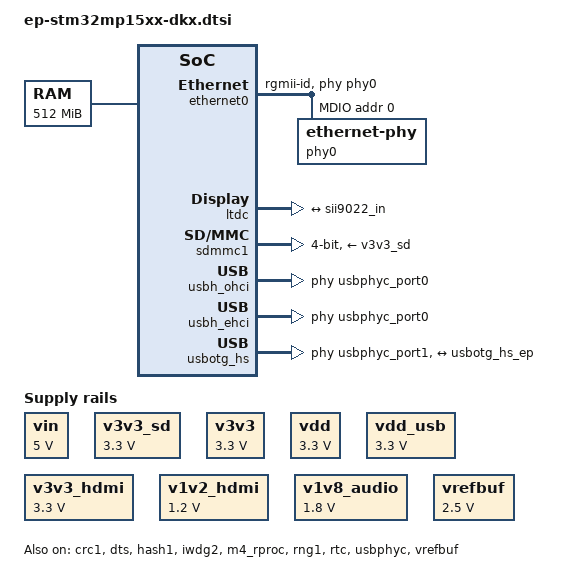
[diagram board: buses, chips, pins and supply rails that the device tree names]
// SPDX-License-Identifier: (GPL-2.0+ OR BSD-3-Clause)
/*
 * Copyright (C) STMicroelectronics 2019 - All Rights Reserved
 * Author: Alexandre Torgue <alexandre.torgue@st.com> for STMicroelectronics.
 */

#include <dt-bindings/gpio/gpio.h>
#include <dt-bindings/mfd/st,stpmic1.h>

/ {
	memory@c0000000 {
		device_type = "memory";
		reg = <0xc0000000 0x20000000>;
	};

	reserved-memory {
		#address-cells = <1>;
		#size-cells = <1>;
		ranges;

		mcuram2: mcuram2@10000000 {
			compatible = "shared-dma-pool";
			reg = <0x10000000 0x40000>;
			no-map;
		};

		vdev0vring0: vdev0vring0@10040000 {
			compatible = "shared-dma-pool";
			reg = <0x10040000 0x1000>;
			no-map;
		};

		vdev0vring1: vdev0vring1@10041000 {
			compatible = "shared-dma-pool";
			reg = <0x10041000 0x1000>;
			no-map;
		};

		vdev0buffer: vdev0buffer@10042000 {
			compatible = "shared-dma-pool";
			reg = <0x10042000 0x4000>;
			no-map;
		};

		mcuram: mcuram@30000000 {
			compatible = "shared-dma-pool";
			reg = <0x30000000 0x40000>;
			no-map;
		};

		retram: retram@38000000 {
			compatible = "shared-dma-pool";
			reg = <0x38000000 0x10000>;
			no-map;
		};

		gpu_reserved: gpu@d4000000 {
			reg = <0xd4000000 0x4000000>;
			no-map;
		};
	};	

	vin: vin {
		compatible = "regulator-fixed";
		regulator-name = "vin";
		regulator-min-microvolt = <5000000>;
		regulator-max-microvolt = <5000000>;
		regulator-always-on;
	};
	
	v3v3_sd: v3v3_sd {
		compatible = "regulator-fixed";
		regulator-name = "v3v3_sd";
		regulator-min-microvolt = <3300000>;
		regulator-max-microvolt = <3300000>;
		regulator-always-on;
	};
	
	v3v3: v3v3 {
		compatible = "regulator-fixed";
		regulator-name = "v3v3";
		regulator-min-microvolt = <3300000>;
		regulator-max-microvolt = <3300000>;
		regulator-always-on;
	};
	
	vdd: vdd {
		compatible = "regulator-fixed";
		regulator-name = "vdd";
		regulator-min-microvolt = <3300000>;
		regulator-max-microvolt = <3300000>;
		regulator-always-on;
	};
	
	vdd_usb: vdd_usb {
		compatible = "regulator-fixed";
		regulator-name = "vdd_usb";
		regulator-min-microvolt = <3300000>;
		regulator-max-microvolt = <3300000>;
		regulator-always-on;
	};
	
	v3v3_hdmi: v3v3_hdmi {
		compatible = "regulator-fixed";
		regulator-name = "v3v3_hdmi";
		regulator-min-microvolt = <3300000>;
		regulator-max-microvolt = <3300000>;
		regulator-always-on;
	};
	
	v1v2_hdmi: v1v2_hdmi {
		compatible = "regulator-fixed";
		regulator-name = "v1v2_hdmi";
		regulator-min-microvolt = <1200000>;
		regulator-max-microvolt = <1200000>;
		regulator-always-on;
	};
	
	v1v8_audio: v1v8_audio {
		compatible = "regulator-fixed";
		regulator-name = "v1v8_audio";
		regulator-min-microvolt = <1800000>;
		regulator-max-microvolt = <1800000>;
		regulator-always-on;
	};
};

&crc1 {
	status = "okay";
};

&dts {
	status = "okay";
};

&ethernet0 {
	status = "okay";
	pinctrl-0 = <&ethernet0_rgmii_pins_a>;
	pinctrl-1 = <&ethernet0_rgmii_sleep_pins_a>;
	pinctrl-names = "default", "sleep";
	phy-mode = "rgmii-id";
	max-speed = <1000>;
	phy-handle = <&phy0>;

	mdio0 {
		#address-cells = <1>;
		#size-cells = <0>;
		compatible = "snps,dwmac-mdio";
		phy0: ethernet-phy@0 {
			reg = <0>;
		};
	};
};

&gpu {
	contiguous-area = <&gpu_reserved>;
};

&hash1 {
	status = "okay";
};

&ipcc {
	status = "okay";
};

&iwdg2 {
	timeout-sec = <32>;
	status = "okay";
};

&ltdc {
	pinctrl-names = "default", "sleep";
	pinctrl-0 = <&ltdc_pins_a>;
	pinctrl-1 = <&ltdc_sleep_pins_a>;
	status = "okay";

	port {
		ltdc_ep0_out: endpoint@0 {
			reg = <0>;
			remote-endpoint = <&sii9022_in>;
		};
	};
};

&m4_rproc {
	memory-region = <&retram>, <&mcuram>, <&mcuram2>, <&vdev0vring0>,
			<&vdev0vring1>, <&vdev0buffer>;
	mboxes = <&ipcc 0>, <&ipcc 1>, <&ipcc 2>;
	mbox-names = "vq0", "vq1", "shutdown";
	interrupt-parent = <&exti>;
	interrupts = <68 1>;
	status = "okay";
};

&pwr_regulators {
	vdd-supply = <&vdd>;
	vdd_3v3_usbfs-supply = <&vdd_usb>;
};

&rng1 {
	status = "okay";
};

&rtc {
	status = "okay";
};

&sdmmc1 {
	pinctrl-names = "default", "opendrain", "sleep";
	pinctrl-0 = <&sdmmc1_b4_pins_a>;
	pinctrl-1 = <&sdmmc1_b4_od_pins_a>;
	pinctrl-2 = <&sdmmc1_b4_sleep_pins_a>;	
	broken-cd;
	disable-wp;
	st,neg-edge;
	bus-width = <4>;
	vmmc-supply = <&v3v3_sd>;
	status = "okay";
};

&sdmmc3 {
	pinctrl-names = "default", "opendrain", "sleep";
	pinctrl-0 = <&sdmmc3_b4_pins_a>;
	pinctrl-1 = <&sdmmc3_b4_od_pins_a>;
	pinctrl-2 = <&sdmmc3_b4_sleep_pins_a>;
	broken-cd;
	st,neg-edge;
	bus-width = <4>;
	vmmc-supply = <&v3v3>;
	status = "disabled";
};

&usbh_ohci {
	phys = <&usbphyc_port0>;
	status = "okay";
};

&usbh_ehci {
	phys = <&usbphyc_port0>;
	status = "okay";
};

&usbotg_hs {
	phys = <&usbphyc_port1 0>;
	phy-names = "usb2-phy";
	usb-role-switch;
	status = "okay";

	port {
		usbotg_hs_ep: endpoint {
			remote-endpoint = <&usbotg_hs_ep>;
		};
	};
};

&usbphyc {
	status = "okay";
};

&usbphyc_port0 {
	phy-supply = <&vdd_usb>;
};

&usbphyc_port1 {
	phy-supply = <&vdd_usb>;
};

&vrefbuf {
	regulator-min-microvolt = <2500000>;
	regulator-max-microvolt = <2500000>;
	vdda-supply = <&vdd>;
	status = "okay";
};
